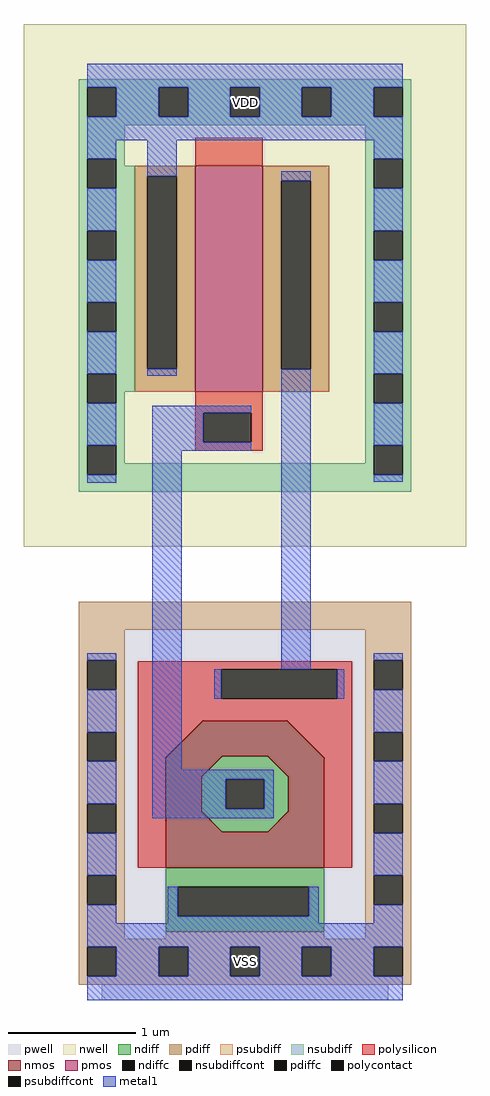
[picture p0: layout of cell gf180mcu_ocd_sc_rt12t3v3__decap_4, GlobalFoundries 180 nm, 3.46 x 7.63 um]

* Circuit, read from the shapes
.subckt gf180mcu_ocd_sc_rt12t3v3__decap_4 VDD VSS
XM1 n1 n2 VSS VSS nfet_03v3 w=1.89u l=0.5251u
XM2 n2 n1 VDD VDD pfet_03v3 w=1.765u l=0.53u
.ends

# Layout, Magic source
magic
tech gf180mcuD
magscale 1 10
<< nwell >>
rect -122 649 570 1466
<< pwell >>
rect -36 -36 484 563
rect 0 -60 448 -36
<< nmos >>
tri 100 319 158 377 se
rect 158 321 290 377
rect 158 319 186 321
tri 186 319 188 321 nw
tri 260 319 262 321 ne
rect 262 319 290 321
tri 290 319 348 377 sw
rect 100 203 156 319
tri 156 289 186 319 nw
tri 262 289 292 319 ne
tri 156 203 188 235 sw
tri 260 203 292 235 se
rect 292 203 348 319
rect 100 147 348 203
<< pmos >>
rect 146 891 252 1244
<< ndiff >>
tri 186 319 188 321 se
rect 188 319 260 321
tri 260 319 262 321 sw
tri 156 289 186 319 se
rect 186 289 262 319
tri 262 289 292 319 sw
rect 156 285 292 289
rect 156 239 194 285
rect 254 239 292 285
rect 156 235 292 239
tri 156 203 188 235 ne
rect 188 203 260 235
tri 260 203 292 235 nw
rect 100 117 348 147
rect 100 71 119 117
rect 324 71 348 117
rect 100 47 348 71
<< pdiff >>
rect 52 1228 146 1244
rect 52 927 71 1228
rect 117 927 146 1228
rect 52 891 146 927
rect 252 1221 356 1244
rect 252 926 281 1221
rect 327 926 356 1221
rect 252 891 356 926
<< ndiffc >>
rect 194 239 254 285
rect 119 71 324 117
<< pdiffc >>
rect 71 927 117 1228
rect 281 926 327 1221
<< psubdiff >>
rect -36 519 484 563
rect -36 471 36 519
rect -36 425 -23 471
rect 23 425 36 471
rect 412 471 484 519
rect -36 359 36 425
rect -36 313 -23 359
rect 23 313 36 359
rect -36 247 36 313
rect -36 201 -23 247
rect 23 201 36 247
rect -36 135 36 201
rect 412 425 425 471
rect 471 425 484 471
rect 412 359 484 425
rect 412 313 425 359
rect 471 313 484 359
rect 412 247 484 313
rect 412 201 425 247
rect 471 201 484 247
rect -36 89 -23 135
rect 23 89 36 135
rect -36 36 36 89
rect 100 36 348 47
rect 412 135 484 201
rect 412 89 425 135
rect 471 89 484 135
rect 412 36 484 89
rect -36 23 484 36
rect -36 -23 -23 23
rect 23 -23 89 23
rect 135 -23 201 23
rect 247 -23 313 23
rect 359 -23 425 23
rect 471 -23 484 23
rect -36 -36 484 -23
<< nsubdiff >>
rect -36 1367 484 1380
rect -36 1321 -23 1367
rect 23 1321 89 1367
rect 135 1321 201 1367
rect 247 1321 313 1367
rect 359 1321 425 1367
rect 471 1321 484 1367
rect -36 1308 484 1321
rect -36 1255 36 1308
rect -36 1209 -23 1255
rect 23 1244 36 1255
rect 412 1255 484 1308
rect 23 1209 52 1244
rect -36 1143 52 1209
rect -36 1097 -23 1143
rect 23 1097 52 1143
rect -36 1031 52 1097
rect -36 985 -23 1031
rect 23 985 52 1031
rect -36 919 52 985
rect -36 873 -23 919
rect 23 891 52 919
rect 412 1209 425 1255
rect 471 1209 484 1255
rect 412 1143 484 1209
rect 412 1097 425 1143
rect 471 1097 484 1143
rect 412 1031 484 1097
rect 412 985 425 1031
rect 471 985 484 1031
rect 412 919 484 985
rect 23 873 36 891
rect -36 807 36 873
rect -36 761 -23 807
rect 23 779 36 807
rect 412 873 425 919
rect 471 873 484 919
rect 412 807 484 873
rect 412 779 425 807
rect 23 761 425 779
rect 471 761 484 807
rect -36 735 484 761
<< psubdiffcont >>
rect -23 425 23 471
rect -23 313 23 359
rect -23 201 23 247
rect 425 425 471 471
rect 425 313 471 359
rect 425 201 471 247
rect -23 89 23 135
rect 425 89 471 135
rect -23 -23 23 23
rect 89 -23 135 23
rect 201 -23 247 23
rect 313 -23 359 23
rect 425 -23 471 23
<< nsubdiffcont >>
rect -23 1321 23 1367
rect 89 1321 135 1367
rect 201 1321 247 1367
rect 313 1321 359 1367
rect 425 1321 471 1367
rect -23 1209 23 1255
rect -23 1097 23 1143
rect -23 985 23 1031
rect -23 873 23 919
rect 425 1209 471 1255
rect 425 1097 471 1143
rect 425 985 471 1031
rect -23 761 23 807
rect 425 873 471 919
rect 425 761 471 807
<< polysilicon >>
rect 146 1244 252 1288
rect 146 858 252 891
rect 146 812 159 858
rect 234 812 252 858
rect 146 799 252 812
rect 56 457 392 470
rect 56 411 187 457
rect 368 411 392 457
rect 56 377 392 411
rect 56 147 100 377
tri 100 319 158 377 nw
tri 290 319 348 377 ne
rect 348 147 392 377
<< polycontact >>
rect 159 812 234 858
rect 187 411 368 457
<< metal1 >>
rect -23 1367 471 1404
rect 23 1321 89 1367
rect 135 1321 201 1367
rect 247 1321 313 1367
rect 359 1321 425 1367
rect -23 1284 471 1321
rect -23 1255 23 1284
rect -23 1143 23 1209
rect -23 1031 23 1097
rect -23 919 23 985
rect 71 1228 117 1284
rect 425 1255 471 1284
rect 71 916 117 927
rect 281 1221 327 1236
rect -23 807 23 873
rect -23 749 23 761
rect 79 858 234 869
rect 79 812 159 858
rect 79 799 234 812
rect -23 471 23 482
rect -23 359 23 425
rect -23 247 23 313
rect 79 300 125 799
rect 281 457 327 926
rect 425 1143 471 1209
rect 425 1031 471 1097
rect 425 919 471 985
rect 425 807 471 873
rect 425 750 471 761
rect 425 471 471 482
rect 176 411 187 457
rect 368 411 379 457
rect 425 359 471 425
rect 79 285 269 300
rect 79 239 194 285
rect 254 239 269 285
rect 79 224 269 239
rect 425 247 471 313
rect -23 135 23 201
rect 425 135 471 201
rect -23 60 23 89
rect 103 71 119 117
rect 324 71 339 117
rect 103 60 339 71
rect 425 60 471 89
rect -23 23 471 60
rect 23 -23 89 23
rect 135 -23 201 23
rect 247 -23 313 23
rect 359 -23 425 23
rect -23 -60 471 -23
<< labels >>
flabel metal1 s 0 -60 448 60 0 FreeSans 400 0 0 0 VSS
port 2 nsew ground bidirectional abutment
flabel metal1 s 0 1284 448 1404 0 FreeSans 400 0 0 0 VDD
port 1 nsew power bidirectional abutment
<< properties >>
string FIXED_BBOX 0 0 448 1344
string LEFclass CORE SPACER
string LEFsite unithd
string LEFsymmetry X Y
string MASKHINTS_NPLUS -42 717 490 797 54 101 394 423
string MASKHINTS_PPLUS -36 501 484 581
<< end >>
